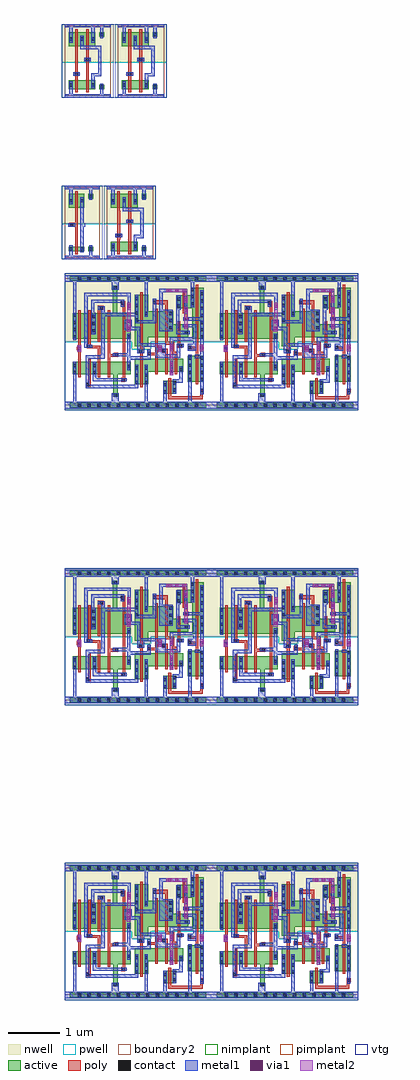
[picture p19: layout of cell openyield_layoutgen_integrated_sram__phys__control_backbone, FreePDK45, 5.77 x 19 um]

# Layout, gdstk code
import gdstk
lib = gdstk.Library(unit=1e-6, precision=1e-09)
def R(c, l, rs):  # rectangles x0, y0, x1, y1
    for r in rs: c.add(gdstk.rectangle(r[:2], r[2:], *l))
def A(c, l, x, y, w, h, nx, ny, dx, dy):  # array of equal rectangles
    R(c, l, [(x+i*dx, y+j*dy, x+i*dx+w, y+j*dy+h) for i in range(nx) for j in range(ny)])
def P(c, l, *ps):  # polygons
    for p in ps: c.add(gdstk.Polygon(p, *l))
active = (1, 0)
pwell = (2, 0)
nwell = (3, 0)
nimplant = (4, 0)
pimplant = (5, 0)
vtg = (6, 0)
poly = (9, 0)
contact = (10, 0)
metal1 = (11, 0)
via1 = (12, 0)
metal2 = (13, 0)
boundary2 = (239, 0)

dff = lib.new_cell('dff')
R(dff, active, [(0.1,-0.045,2.76,0.045), (1.917,0.222,2.022,0.473), (2.022,0.222,2.073,0.473), (2.073,0.222,2.178,0.473), (1.367,0.408,1.472,0.907), (1.472,0.408,1.522,0.907), (2.402,0.462,2.558,0.962), (2.558,0.462,2.607,0.962), (2.607,0.462,2.712,0.962), (0.163,0.6,0.268,0.85), (0.268,0.6,0.317,0.85), (0.317,0.6,0.457,0.85), (0.457,0.6,0.508,0.85), (0.508,0.6,0.647,0.85), (0.647,0.6,0.697,0.85), (0.697,0.6,0.837,0.85), (0.837,0.6,0.888,0.85), (1.133,0.6,1.183,0.85), (1.183,0.6,1.288,0.85), (1.767,0.657,1.818,0.907), (1.818,0.657,1.957,0.907), (1.957,0.657,2.007,0.907), (2.007,0.657,2.147,0.907), (2.147,0.657,2.198,0.907), (2.198,0.657,2.308,0.907), (1.367,1.15,1.472,2.15), (1.472,1.15,1.522,2.15), (0.163,1.292,0.268,1.792), (0.268,1.292,0.317,1.792), (0.317,1.292,0.457,1.792), (0.457,1.292,0.508,1.792), (0.508,1.292,0.647,1.792), (0.647,1.292,0.697,1.792), (0.697,1.292,0.837,1.792), (0.837,1.292,0.888,1.792), (1.133,1.292,1.183,1.792), (1.183,1.292,1.288,1.792), (2.558,1.292,2.607,2.292), (2.607,1.292,2.712,2.292), (1.767,1.328,1.818,1.828), (1.818,1.328,1.957,1.828), (1.957,1.328,2.007,1.828), (2.207,1.328,2.257,1.578), (2.257,1.328,2.408,1.578), (2.192,1.892,2.297,2.143), (2.297,1.892,2.348,2.143), (0.1,2.425,2.76,2.515)])
P(dff, active, [(0.888,1.292),(0.888,1.792),(0.937,1.792),(0.937,2.323),(1.028,2.323),(1.028,1.792),(1.133,1.792),(1.133,1.292)],
  [(1.522,1.15),(1.522,2.15),(1.627,2.15),(1.627,1.828),(1.767,1.828),(1.767,1.328),(1.627,1.328),(1.627,1.15)],
  [(2.007,1.328),(2.007,1.828),(2.112,1.828),(2.112,1.578),(2.207,1.578),(2.207,1.328)],
  [(2.488,1.292),(2.488,1.892),(2.348,1.892),(2.348,2.143),(2.453,2.143),(2.453,2.292),(2.558,2.292),(2.558,1.292)],
  [(0.947,0.165),(0.947,0.6),(0.888,0.6),(0.888,0.85),(1.133,0.85),(1.133,0.6),(1.038,0.6),(1.038,0.165)],
  [(1.522,0.408),(1.522,0.907),(1.767,0.907),(1.767,0.657),(1.627,0.657),(1.627,0.408)])
P(dff, pwell, [(0,-0.1),(0,1.235),(1.312,1.235),(1.312,1.095),(1.683,1.095),(1.683,1.235),(2.86,1.235),(2.86,-0.1)])
P(dff, nwell, [(1.312,1.095),(1.312,1.235),(0,1.235),(0,2.57),(2.86,2.57),(2.86,1.235),(1.683,1.235),(1.683,1.095)])
R(dff, nimplant, [(1.917,0.222,2.022,0.473), (2.022,0.222,2.073,0.473), (2.073,0.222,2.178,0.473), (1.367,0.408,1.472,0.907), (1.472,0.408,1.522,0.907), (2.402,0.462,2.558,0.962), (2.558,0.462,2.607,0.962), (2.607,0.462,2.712,0.962), (0.163,0.6,0.268,0.85), (0.268,0.6,0.317,0.85), (0.317,0.6,0.457,0.85), (0.457,0.6,0.508,0.85), (0.508,0.6,0.647,0.85), (0.647,0.6,0.697,0.85), (0.697,0.6,0.837,0.85), (0.837,0.6,0.888,0.85), (1.133,0.6,1.183,0.85), (1.183,0.6,1.288,0.85), (1.767,0.657,1.818,0.907), (1.818,0.657,1.957,0.907), (1.957,0.657,2.007,0.907), (2.007,0.657,2.147,0.907), (2.147,0.657,2.198,0.907), (2.198,0.657,2.308,0.907), (0.1,2.425,2.76,2.515)])
P(dff, nimplant, [(0.947,0.165),(0.947,0.6),(0.888,0.6),(0.888,0.85),(1.133,0.85),(1.133,0.6),(1.038,0.6),(1.038,0.165)],
  [(1.522,0.408),(1.522,0.907),(1.767,0.907),(1.767,0.657),(1.627,0.657),(1.627,0.408)])
R(dff, pimplant, [(0.1,-0.045,2.76,0.045), (1.367,1.15,1.472,2.15), (1.472,1.15,1.522,2.15), (0.163,1.292,0.268,1.792), (0.268,1.292,0.317,1.792), (0.317,1.292,0.457,1.792), (0.457,1.292,0.508,1.792), (0.508,1.292,0.647,1.792), (0.647,1.292,0.697,1.792), (0.697,1.292,0.837,1.792), (0.837,1.292,0.888,1.792), (1.133,1.292,1.183,1.792), (1.183,1.292,1.288,1.792), (2.558,1.292,2.607,2.292), (2.607,1.292,2.712,2.292), (1.767,1.328,1.818,1.828), (1.818,1.328,1.957,1.828), (1.957,1.328,2.007,1.828), (2.207,1.328,2.257,1.578), (2.257,1.328,2.408,1.578), (2.192,1.892,2.297,2.143), (2.297,1.892,2.348,2.143)])
P(dff, pimplant, [(0.888,1.292),(0.888,1.792),(0.937,1.792),(0.937,2.323),(1.028,2.323),(1.028,1.792),(1.133,1.792),(1.133,1.292)],
  [(1.522,1.15),(1.522,2.15),(1.627,2.15),(1.627,1.828),(1.767,1.828),(1.767,1.328),(1.627,1.328),(1.627,1.15)],
  [(2.007,1.328),(2.007,1.828),(2.112,1.828),(2.112,1.578),(2.207,1.578),(2.207,1.328)],
  [(2.488,1.292),(2.488,1.892),(2.348,1.892),(2.348,2.143),(2.453,2.143),(2.453,2.292),(2.558,2.292),(2.558,1.292)])
R(dff, vtg, [(0,-0.1,2.86,2.57)])
R(dff, poly, [(2.022,0.222,2.073,0.473), (1.472,0.352,1.522,0.408), (1.472,0.408,1.522,0.907), (2.558,0.408,2.607,0.462), (2.558,0.462,2.607,0.962), (2.022,0.473,2.073,0.527), (0.268,0.545,0.317,0.6), (0.647,0.545,0.697,0.6), (0.837,0.545,0.888,0.6), (0.268,0.6,0.317,0.85), (0.457,0.6,0.508,0.85), (0.647,0.6,0.697,0.85), (0.837,0.6,0.888,0.85), (1.133,0.6,1.183,0.85), (1.767,0.603,1.818,0.657), (1.957,0.603,2.007,0.657), (2.147,0.603,2.198,0.657), (1.767,0.657,1.818,0.907), (1.957,0.657,2.007,0.907), (2.147,0.657,2.198,0.907), (0.457,0.85,0.508,0.905), (1.133,0.85,1.183,1.292), (1.472,1.15,1.522,2.15), (0.647,1.238,0.697,1.292), (0.268,1.292,0.317,1.792), (0.457,1.292,0.508,1.792), (0.647,1.292,0.697,1.792), (0.837,1.292,0.888,1.792), (1.133,1.292,1.183,1.792), (2.558,1.292,2.607,2.292), (1.767,1.328,1.818,1.828), (1.957,1.328,2.007,1.828), (2.207,1.328,2.257,1.578), (2.207,1.578,2.257,1.632), (0.268,1.792,0.317,1.848), (0.457,1.792,0.508,1.848), (0.837,1.792,0.888,1.848), (1.767,1.828,1.818,1.882), (2.297,1.892,2.348,2.143), (2.297,2.143,2.348,2.198), (1.472,2.15,1.522,2.205), (2.558,2.292,2.607,2.348)])
P(dff, poly, [(0.268,0.85),(0.268,1.068),(0.242,1.068),(0.242,1.143),(0.268,1.143),(0.268,1.292),(0.317,1.292),(0.317,0.85)],
  [(0.413,0.365),(0.413,0.44),(0.457,0.44),(0.457,0.6),(0.508,0.6),(0.508,0.365)],
  [(0.647,1.792),(0.647,1.933),(0.753,1.933),(0.753,1.857),(0.697,1.857),(0.697,1.792)],
  [(0.647,0.85),(0.647,1.113),(0.432,1.113),(0.432,1.187),(0.457,1.187),(0.457,1.292),(0.508,1.292),(0.508,1.163),(0.697,1.163),(0.697,0.85)],
  [(0.837,0.85),(0.837,1.292),(0.888,1.292),(0.888,0.995),(0.972,0.995),(0.972,1.02),(1.048,1.02),(1.048,0.945),(0.888,0.945),(0.888,0.85)],
  [(1.133,1.792),(1.133,1.953),(1.093,1.953),(1.093,2.027),(1.183,2.027),(1.183,1.792)],
  [(1.107,0.46),(1.107,0.535),(1.133,0.535),(1.133,0.6),(1.183,0.6),(1.183,0.46)],
  [(1.472,0.907),(1.472,1.01),(1.443,1.01),(1.443,1.085),(1.472,1.085),(1.472,1.15),(1.522,1.15),(1.522,0.907)],
  [(1.767,0.907),(1.767,0.972),(1.607,0.972),(1.607,1.048),(1.683,1.048),(1.683,1.022),(1.767,1.022),(1.767,1.328),(1.818,1.328),(1.818,0.907)],
  [(1.957,1.828),(1.957,1.967),(1.713,1.967),(1.713,2.042),(2.007,2.042),(2.007,1.828)],
  [(1.957,0.907),(1.957,1.022),(1.902,1.022),(1.902,1.097),(2.007,1.097),(2.007,0.907)],
  [(2.343,1.642),(2.343,1.792),(2.297,1.792),(2.297,1.892),(2.348,1.892),(2.348,1.842),(2.393,1.842),(2.393,1.717),(2.417,1.717),(2.417,1.642)],
  [(2.207,1.123),(2.207,1.328),(2.257,1.328),(2.257,1.197),(2.292,1.197),(2.292,1.123)],
  [(2.022,0.122),(2.022,0.222),(2.073,0.222),(2.073,0.173),(2.638,0.173),(2.638,0.323),(2.712,0.323),(2.712,0.247),(2.687,0.247),(2.687,0.122)],
  [(2.147,0.907),(2.147,0.987),(2.083,0.987),(2.083,1.183),(1.957,1.183),(1.957,1.328),(2.007,1.328),(2.007,1.232),(2.132,1.232),(2.132,1.038),(2.198,1.038),(2.198,0.907)],
  [(2.558,0.962),(2.558,1.088),(2.397,1.088),(2.397,1.163),(2.473,1.163),(2.473,1.137),(2.558,1.137),(2.558,1.292),(2.607,1.292),(2.607,0.962)])
A(dff, contact, 0.827, -0.033, 0.066, 0.066, 3, 1, 0.57, 0)
A(dff, contact, 2.408, 0.468, 0.065, 0.064, 1, 4, 0, 0.14)
A(dff, contact, 2.642, 0.468, 0.065, 0.064, 1, 4, 0, 0.14)
A(dff, contact, 2.642, 1.717, 0.065, 0.065, 1, 3, 0, 0.14)
A(dff, contact, 0.827, 2.437, 0.066, 0.065, 3, 1, 0.57, 0)
R(dff, contact, [(0.258,-0.033,0.323,0.033), (0.447,-0.033,0.512,0.033), (0.638,-0.033,0.702,0.033), (1.018,-0.033,1.083,0.033), (1.207,-0.033,1.272,0.033), (1.588,-0.033,1.653,0.033), (1.777,-0.033,1.842,0.033), (2.158,-0.033,2.223,0.033), (2.348,-0.033,2.413,0.033), (2.538,-0.033,2.602,0.033), (0.952,0.17,1.018,0.235), (1.922,0.227,1.987,0.292), (2.642,0.252,2.707,0.317), (2.107,0.263,2.172,0.328), (1.922,0.367,1.987,0.432), (0.417,0.37,0.482,0.435), (2.107,0.403,2.172,0.468), (1.373,0.413,1.437,0.478), (1.558,0.413,1.622,0.478), (1.113,0.465,1.177,0.53), (1.373,0.552,1.437,0.618), (1.558,0.552,1.622,0.618), (0.168,0.605,0.232,0.67), (0.547,0.605,0.613,0.67), (2.047,0.662,2.112,0.728), (2.238,0.662,2.303,0.728), (1.373,0.692,1.437,0.758), (1.558,0.692,1.622,0.758), (1.218,0.72,1.282,0.785), (0.168,0.745,0.232,0.81), (0.547,0.745,0.613,0.81), (0.977,0.95,1.042,1.015), (1.612,0.977,1.677,1.042), (1.447,1.015,1.512,1.08), (1.907,1.028,1.973,1.093), (0.247,1.073,0.312,1.137), (2.402,1.093,2.468,1.157), (0.437,1.117,0.503,1.183), (2.223,1.127,2.288,1.193), (1.218,1.298,1.282,1.363), (2.642,1.298,2.707,1.363), (0.168,1.302,0.232,1.367), (2.337,1.387,2.402,1.453), (0.542,1.417,0.608,1.482), (2.642,1.437,2.707,1.502), (0.168,1.443,0.232,1.508), (2.042,1.477,2.107,1.542), (0.542,1.558,0.608,1.622), (2.642,1.578,2.707,1.642), (0.168,1.582,0.232,1.647), (2.042,1.617,2.107,1.683), (1.373,1.627,1.437,1.693), (2.348,1.647,2.413,1.713), (0.542,1.697,0.608,1.762), (0.168,1.723,0.232,1.787), (1.558,1.757,1.622,1.822), (2.042,1.757,2.107,1.822), (1.373,1.767,1.437,1.832), (0.682,1.862,0.748,1.927), (2.198,1.897,2.263,1.963), (1.373,1.907,1.437,1.973), (2.457,1.943,2.522,2.007), (1.097,1.957,1.163,2.022), (1.717,1.973,1.782,2.037), (2.198,2.037,2.263,2.103), (1.373,2.047,1.437,2.112), (2.457,2.083,2.522,2.147), (2.642,2.138,2.707,2.203), (2.457,2.223,2.522,2.288), (0.957,2.252,1.022,2.317), (0.258,2.437,0.323,2.502), (0.447,2.437,0.512,2.502), (0.638,2.437,0.702,2.502), (1.018,2.437,1.083,2.502), (1.207,2.437,1.272,2.502), (1.588,2.437,1.653,2.502), (1.777,2.437,1.842,2.502), (2.158,2.437,2.223,2.502), (2.348,2.437,2.413,2.502), (2.538,2.437,2.602,2.502)])
R(dff, metal1, [(0,-0.065,2.86,0.065), (2.047,0.588,2.112,0.863), (2.642,0.915,2.707,1.127), (1.777,0.927,1.973,1.207), (0.245,1.038,0.323,1.173), (2.632,1.048,2.71,1.183), (2.328,1.777,2.393,2.127), (0,2.405,2.76,2.535)])
P(dff, metal1, [(0.168,1.268),(0.168,2.405),(0.1,2.405),(0.1,2.535),(2.86,2.535),(2.86,2.405),(2.522,2.405),(2.522,1.907),(2.457,1.907),(2.457,2.405),(1.622,2.405),(1.622,1.723),(1.558,1.723),(1.558,2.405),(1.058,2.405),(1.058,2.252),(0.922,2.252),(0.922,2.405),(0.232,2.405),(0.232,1.268)],
  [(0.1,-0.065),(0.1,0.065),(0.168,0.065),(0.168,0.845),(0.232,0.845),(0.232,0.065),(0.917,0.065),(0.917,0.235),(1.052,0.235),(1.052,0.065),(1.558,0.065),(1.558,0.792),(1.622,0.792),(1.622,0.065),(1.922,0.065),(1.922,0.468),(1.987,0.468),(1.987,0.065),(2.408,0.065),(2.408,0.987),(2.473,0.987),(2.473,0.065),(2.76,0.065),(2.76,-0.065)],
  [(0.417,0.335),(0.417,0.975),(0.718,0.975),(0.718,1.862),(0.647,1.862),(0.647,1.927),(0.782,1.927),(0.782,1.798),(1.373,1.798),(1.373,2.147),(1.437,2.147),(1.437,1.657),(1.717,1.657),(1.717,2.073),(1.782,2.073),(1.782,1.592),(1.373,1.592),(1.373,1.732),(0.782,1.732),(0.782,0.91),(0.482,0.91),(0.482,0.4),(1.373,0.4),(1.373,0.792),(1.437,0.792),(1.437,0.335)],
  [(1.777,0.927),(1.777,1.143),(1.548,1.143),(1.548,1.015),(1.413,1.015),(1.413,1.463),(1.173,1.463),(1.173,1.667),(1.308,1.667),(1.308,1.528),(1.477,1.528),(1.477,1.207),(1.973,1.207),(1.973,0.992),(2.187,0.992),(2.187,1.193),(2.323,1.193),(2.323,1.127),(2.252,1.127),(2.252,0.927)],
  [(0.387,1.117),(0.387,2.187),(1.292,2.187),(1.292,1.862),(1.228,1.862),(1.228,2.123),(0.452,2.123),(0.452,1.183),(0.537,1.183),(0.537,1.117)],
  [(0.517,1.383),(0.517,2.058),(1.163,2.058),(1.163,1.922),(1.097,1.922),(1.097,1.992),(0.583,1.992),(0.583,1.798),(0.608,1.798),(0.608,1.383)],
  [(0.547,0.465),(0.547,0.845),(0.613,0.845),(0.613,0.53),(1.213,0.53),(1.213,0.465)],
  [(1.218,0.685),(1.218,0.95),(0.942,0.95),(0.942,1.015),(1.218,1.015),(1.218,1.397),(1.282,1.397),(1.282,0.95),(1.612,0.95),(1.612,1.078),(1.677,1.078),(1.677,0.885),(1.282,0.885),(1.282,0.685)],
  [(1.848,1.443),(1.848,2.268),(2.393,2.268),(2.393,2.203),(1.912,2.203),(1.912,1.857),(2.107,1.857),(2.107,1.443)],
  [(2.053,1.058),(2.053,1.322),(2.502,1.322),(2.502,1.518),(2.303,1.518),(2.303,1.582),(2.567,1.582),(2.567,1.058),(2.402,1.058),(2.402,1.193),(2.502,1.193),(2.502,1.258),(2.118,1.258),(2.118,1.058)],
  [(2.172,1.387),(2.172,2.138),(2.263,2.138),(2.263,1.862),(2.238,1.862),(2.238,1.453),(2.437,1.453),(2.437,1.387)],
  [(2.642,0.217),(2.642,0.917),(2.538,0.917),(2.538,0.982),(2.642,0.982),(2.642,1.647),(2.312,1.647),(2.312,1.713),(2.642,1.713),(2.642,2.238),(2.707,2.238),(2.707,0.217)],
  [(2.107,0.227),(2.107,0.503),(2.238,0.503),(2.238,0.763),(2.303,0.763),(2.303,0.437),(2.172,0.437),(2.172,0.227)])
R(dff, via1, [(2.047,0.623,2.112,0.687), (2.047,0.763,2.112,0.827), (0.247,1.073,0.312,1.137), (1.825,1.073,1.89,1.137), (2.64,1.083,2.705,1.147), (2.053,1.093,2.118,1.157), (1.207,1.463,1.272,1.528), (2.337,1.518,2.402,1.582), (1.207,1.602,1.272,1.667), (2.328,1.812,2.393,1.877), (1.228,1.897,1.292,1.963), (2.328,2.027,2.393,2.093), (2.013,2.203,2.078,2.268), (2.152,2.203,2.218,2.268), (2.292,2.203,2.357,2.268)])
R(dff, metal2, [(2.047,0.588,2.118,1.193), (0.245,1.038,0.323,1.173), (1.82,1.038,1.897,1.173), (2.632,1.048,2.71,1.183)])
P(dff, metal2, [(1.207,1.427),(1.207,1.703),(1.222,1.703),(1.222,1.997),(1.292,1.997),(1.292,1.427)],
  [(2.323,1.992),(2.323,2.198),(1.977,2.198),(1.977,2.268),(2.393,2.268),(2.393,1.992)],
  [(2.332,1.482),(2.332,1.777),(2.328,1.777),(2.328,1.912),(2.402,1.912),(2.402,1.482)])
R(dff, boundary2, [(0,0,2.86,2.47)])
dff.add(gdstk.Label('clk', (1.865,1.15), layer=13, texttype=0))
dff.add(gdstk.Label('D', (0.295,1.15), layer=13, texttype=0))
dff.add(gdstk.Label('Q', (2.685,1.1), layer=13, texttype=0))
dff.add(gdstk.Label('gnd', (1.645,0.043), layer=11, texttype=0))
dff.add(gdstk.Label('vdd', (2.035,2.533), layer=11, texttype=0))

sram_1rw_32x16_freepdk45 = lib.new_cell('sram_1rw_32x16_freepdk45_contact_11')
R(sram_1rw_32x16_freepdk45, active, [(0,0.022,0.09,0.112)])
R(sram_1rw_32x16_freepdk45, nwell, [(-0.055,-0.033,0.145,0.168)])
R(sram_1rw_32x16_freepdk45, pimplant, [(0,0.022,0.09,0.112)])
R(sram_1rw_32x16_freepdk45, contact, [(0.013,0.035,0.077,0.1)])
R(sram_1rw_32x16_freepdk45, metal1, [(0.013,0,0.077,0.135)])
R(sram_1rw_32x16_freepdk45, boundary2, [(-0.055,-0.033,0.145,0.168)])

c_sram_1rw_32x16_freepdk45 = lib.new_cell('sram_1rw_32x16_freepdk45_pmos_m1_w0_270_sm1_dm1_da_p')
R(c_sram_1rw_32x16_freepdk45, active, [(0,0,0.305,0.27)])
R(c_sram_1rw_32x16_freepdk45, nwell, [(-0.08,-0.08,0.385,0.35)])
R(c_sram_1rw_32x16_freepdk45, pimplant, [(0,0,0.305,0.27)])
R(c_sram_1rw_32x16_freepdk45, vtg, [(-0.08,-0.08,0.385,0.35)])
R(c_sram_1rw_32x16_freepdk45, poly, [(0.127,-0.055,0.177,0.325), (0.127,-0.055,0.177,0.325)])
R(c_sram_1rw_32x16_freepdk45, metal1, [(0.013,0.068,0.077,0.203), (0.227,0.068,0.292,0.203)])
R(c_sram_1rw_32x16_freepdk45, boundary2, [(-0.08,-0.08,0.385,0.35)])
c_sram_1rw_32x16_freepdk45.add(gdstk.Reference(sram_1rw_32x16_freepdk45, (0,0.068)))
c_sram_1rw_32x16_freepdk45.add(gdstk.Reference(sram_1rw_32x16_freepdk45, (0.215,0.068)))
c_sram_1rw_32x16_freepdk45.add(gdstk.Label('G', (0.152,0.135), layer=9, texttype=0))
c_sram_1rw_32x16_freepdk45.add(gdstk.Label('S', (0.045,0.135), layer=11, texttype=0))
c_sram_1rw_32x16_freepdk45.add(gdstk.Label('D', (0.26,0.135), layer=11, texttype=0))

c_sram_1rw_32x16_freepdk45_ = lib.new_cell('sram_1rw_32x16_freepdk45_contact_10')
R(c_sram_1rw_32x16_freepdk45_, active, [(0,0.022,0.09,0.112)])
R(c_sram_1rw_32x16_freepdk45_, pwell, [(-0.055,-0.033,0.145,0.168)])
R(c_sram_1rw_32x16_freepdk45_, nimplant, [(0,0.022,0.09,0.112)])
R(c_sram_1rw_32x16_freepdk45_, contact, [(0.013,0.035,0.077,0.1)])
R(c_sram_1rw_32x16_freepdk45_, metal1, [(0.013,0,0.077,0.135)])
R(c_sram_1rw_32x16_freepdk45_, boundary2, [(-0.055,-0.033,0.145,0.168)])

c_sram_1rw_32x16_freepdk45__ = lib.new_cell('sram_1rw_32x16_freepdk45_nmos_m1_w0_090_sm1_dm1_da_p')
R(c_sram_1rw_32x16_freepdk45__, active, [(0,0,0.305,0.09)])
R(c_sram_1rw_32x16_freepdk45__, pwell, [(-0.08,-0.08,0.385,0.17)])
R(c_sram_1rw_32x16_freepdk45__, nimplant, [(0,0,0.305,0.09)])
R(c_sram_1rw_32x16_freepdk45__, vtg, [(-0.08,-0.08,0.385,0.17)])
R(c_sram_1rw_32x16_freepdk45__, poly, [(0.127,-0.055,0.177,0.145), (0.127,-0.055,0.177,0.145)])
R(c_sram_1rw_32x16_freepdk45__, metal1, [(0.013,-0.022,0.077,0.112), (0.227,-0.022,0.292,0.112)])
R(c_sram_1rw_32x16_freepdk45__, boundary2, [(-0.08,-0.08,0.385,0.17)])
c_sram_1rw_32x16_freepdk45__.add(gdstk.Reference(c_sram_1rw_32x16_freepdk45_, (0,-0.022)))
c_sram_1rw_32x16_freepdk45__.add(gdstk.Reference(c_sram_1rw_32x16_freepdk45_, (0.215,-0.022)))
c_sram_1rw_32x16_freepdk45__.add(gdstk.Label('G', (0.152,0.045), layer=9, texttype=0))
c_sram_1rw_32x16_freepdk45__.add(gdstk.Label('S', (0.045,0.045), layer=11, texttype=0))
c_sram_1rw_32x16_freepdk45__.add(gdstk.Label('D', (0.26,0.045), layer=11, texttype=0))

c_sram_1rw_32x16_freepdk45___ = lib.new_cell('sram_1rw_32x16_freepdk45_contact_12')
R(c_sram_1rw_32x16_freepdk45___, active, [(0,0.022,0.09,0.112)])
R(c_sram_1rw_32x16_freepdk45___, nwell, [(-0.055,-0.033,0.145,0.168)])
R(c_sram_1rw_32x16_freepdk45___, nimplant, [(0,0.022,0.09,0.112)])
R(c_sram_1rw_32x16_freepdk45___, contact, [(0.013,0.035,0.077,0.1)])
R(c_sram_1rw_32x16_freepdk45___, metal1, [(0.013,0,0.077,0.135)])
R(c_sram_1rw_32x16_freepdk45___, boundary2, [(-0.055,-0.033,0.145,0.168)])

c_sram_1rw_32x16_freepdk45____ = lib.new_cell('sram_1rw_32x16_freepdk45_contact_13')
R(c_sram_1rw_32x16_freepdk45____, active, [(0,0.022,0.09,0.112)])
R(c_sram_1rw_32x16_freepdk45____, pwell, [(-0.055,-0.033,0.145,0.168)])
R(c_sram_1rw_32x16_freepdk45____, pimplant, [(0,0.022,0.09,0.112)])
R(c_sram_1rw_32x16_freepdk45____, contact, [(0.013,0.035,0.077,0.1)])
R(c_sram_1rw_32x16_freepdk45____, metal1, [(0.013,0,0.077,0.135)])
R(c_sram_1rw_32x16_freepdk45____, boundary2, [(-0.055,-0.033,0.145,0.168)])

c_sram_1rw_32x16_freepdk45_____ = lib.new_cell('sram_1rw_32x16_freepdk45_contact_14')
R(c_sram_1rw_32x16_freepdk45_____, poly, [(0.03,0,0.105,0.075)])
R(c_sram_1rw_32x16_freepdk45_____, contact, [(0.035,0.005,0.1,0.07)])
R(c_sram_1rw_32x16_freepdk45_____, metal1, [(0,0.005,0.135,0.07)])
R(c_sram_1rw_32x16_freepdk45_____, boundary2, [(0,0,0.135,0.075)])

gen_inv = lib.new_cell('gen_inv')
R(gen_inv, pwell, [(-0.055,-0.033,0.743,0.655)])
R(gen_inv, nwell, [(-0.055,0.655,0.743,1.4)])
R(gen_inv, vtg, [(-0.055,-0.033,0.743,0.655), (-0.055,0.655,0.743,1.4)])
R(gen_inv, poly, [(0.208,0.27,0.258,0.915), (0.14,0.6,0.208,0.675)])
R(gen_inv, metal1, [(0,-0.033,0.687,0.033), (0.092,-0.033,0.157,0.103), (0.478,0,0.542,0.17), (0.307,0.103,0.372,1.173), (0.072,0.605,0.208,0.67), (0.34,0.605,0.405,0.67), (0.092,1.038,0.157,1.397), (0.478,1.195,0.542,1.365), (0,1.332,0.687,1.397)])
R(gen_inv, boundary2, [(0,0,0.687,1.365), (0,0,0.687,1.365)])
gen_inv.add(gdstk.Reference(c_sram_1rw_32x16_freepdk45, (0.08,0.97)))
gen_inv.add(gdstk.Reference(c_sram_1rw_32x16_freepdk45__, (0.08,0.125)))
gen_inv.add(gdstk.Reference(c_sram_1rw_32x16_freepdk45___, (0.465,1.127)))
gen_inv.add(gdstk.Reference(c_sram_1rw_32x16_freepdk45____, (0.465,0.103)))
gen_inv.add(gdstk.Reference(c_sram_1rw_32x16_freepdk45_____, (0.072,0.6)))
gen_inv.add(gdstk.Label('A', (0.14,0.638), layer=11, texttype=0))
gen_inv.add(gdstk.Label('Z', (0.372,0.638), layer=11, texttype=0))
gen_inv.add(gdstk.Label('gnd', (0.345,0), layer=11, texttype=0))
gen_inv.add(gdstk.Label('vdd', (0.345,1.365), layer=11, texttype=0))

c_sram_1rw_32x16_freepdk45______ = lib.new_cell('sram_1rw_32x16_freepdk45_pmos_m1_w0_270_sm1_dm1')
R(c_sram_1rw_32x16_freepdk45______, active, [(0,0,0.305,0.27)])
R(c_sram_1rw_32x16_freepdk45______, nwell, [(-0.08,-0.08,0.385,0.35)])
R(c_sram_1rw_32x16_freepdk45______, pimplant, [(0,0,0.305,0.27)])
R(c_sram_1rw_32x16_freepdk45______, vtg, [(-0.08,-0.08,0.385,0.35)])
R(c_sram_1rw_32x16_freepdk45______, poly, [(0.127,-0.055,0.177,0.325), (0.127,-0.055,0.177,0.325)])
R(c_sram_1rw_32x16_freepdk45______, metal1, [(0.013,0.068,0.077,0.203), (0.227,0.068,0.292,0.203)])
R(c_sram_1rw_32x16_freepdk45______, boundary2, [(-0.08,-0.08,0.385,0.35)])
c_sram_1rw_32x16_freepdk45______.add(gdstk.Reference(sram_1rw_32x16_freepdk45, (0,0.068)))
c_sram_1rw_32x16_freepdk45______.add(gdstk.Reference(sram_1rw_32x16_freepdk45, (0.215,0.068)))
c_sram_1rw_32x16_freepdk45______.add(gdstk.Label('G', (0.152,0.135), layer=9, texttype=0))
c_sram_1rw_32x16_freepdk45______.add(gdstk.Label('S', (0.045,0.135), layer=11, texttype=0))
c_sram_1rw_32x16_freepdk45______.add(gdstk.Label('D', (0.26,0.135), layer=11, texttype=0))

c_sram_1rw_32x16_freepdk45_______ = lib.new_cell('sram_1rw_32x16_freepdk45_nmos_m1_w0_180_sm1_dactive')
R(c_sram_1rw_32x16_freepdk45_______, active, [(0,0,0.305,0.18), (0.215,0.045,0.305,0.135)])
R(c_sram_1rw_32x16_freepdk45_______, pwell, [(-0.08,-0.08,0.385,0.26)])
R(c_sram_1rw_32x16_freepdk45_______, nimplant, [(0,0,0.305,0.18)])
R(c_sram_1rw_32x16_freepdk45_______, vtg, [(-0.08,-0.08,0.385,0.26)])
R(c_sram_1rw_32x16_freepdk45_______, poly, [(0.127,-0.055,0.177,0.235), (0.127,-0.055,0.177,0.235)])
R(c_sram_1rw_32x16_freepdk45_______, metal1, [(0.013,0.022,0.077,0.157)])
R(c_sram_1rw_32x16_freepdk45_______, boundary2, [(-0.08,-0.08,0.385,0.26)])
c_sram_1rw_32x16_freepdk45_______.add(gdstk.Reference(c_sram_1rw_32x16_freepdk45_, (0,0.022)))
c_sram_1rw_32x16_freepdk45_______.add(gdstk.Label('G', (0.152,0.09), layer=9, texttype=0))
c_sram_1rw_32x16_freepdk45_______.add(gdstk.Label('S', (0.045,0.09), layer=11, texttype=0))
c_sram_1rw_32x16_freepdk45_______.add(gdstk.Label('D', (0.26,0.09), layer=1, texttype=0))

c_sram_1rw_32x16_freepdk45________ = lib.new_cell('sram_1rw_32x16_freepdk45_nmos_m1_w0_180_sactive_dm1')
R(c_sram_1rw_32x16_freepdk45________, active, [(0,0,0.305,0.18), (0,0.045,0.09,0.135)])
R(c_sram_1rw_32x16_freepdk45________, pwell, [(-0.08,-0.08,0.385,0.26)])
R(c_sram_1rw_32x16_freepdk45________, nimplant, [(0,0,0.305,0.18)])
R(c_sram_1rw_32x16_freepdk45________, vtg, [(-0.08,-0.08,0.385,0.26)])
R(c_sram_1rw_32x16_freepdk45________, poly, [(0.127,-0.055,0.177,0.235), (0.127,-0.055,0.177,0.235)])
R(c_sram_1rw_32x16_freepdk45________, metal1, [(0.227,0.022,0.292,0.157)])
R(c_sram_1rw_32x16_freepdk45________, boundary2, [(-0.08,-0.08,0.385,0.26)])
c_sram_1rw_32x16_freepdk45________.add(gdstk.Reference(c_sram_1rw_32x16_freepdk45_, (0.215,0.022)))
c_sram_1rw_32x16_freepdk45________.add(gdstk.Label('G', (0.152,0.09), layer=9, texttype=0))
c_sram_1rw_32x16_freepdk45________.add(gdstk.Label('S', (0.045,0.09), layer=1, texttype=0))
c_sram_1rw_32x16_freepdk45________.add(gdstk.Label('D', (0.26,0.09), layer=11, texttype=0))

gen_nand2 = lib.new_cell('gen_nand2')
R(gen_nand2, pwell, [(-0.055,-0.033,0.957,0.655)])
R(gen_nand2, nwell, [(-0.055,0.655,0.957,1.4)])
R(gen_nand2, vtg, [(-0.055,-0.033,0.957,0.655), (-0.055,0.655,0.957,1.4)])
R(gen_nand2, poly, [(0.208,0.36,0.258,0.915), (0.422,0.36,0.473,0.915), (0.208,0.39,0.232,0.465), (0.422,0.67,0.447,0.745)])
R(gen_nand2, metal1, [(0,-0.033,0.902,0.033), (0.092,-0.033,0.157,0.147), (0.692,0,0.758,0.17), (0.522,0.283,0.588,0.413), (0.522,0.38,0.588,0.445), (0.555,0.38,0.685,0.445), (0.652,0.38,0.718,0.445), (0.165,0.395,0.3,0.46), (0.652,0.413,0.718,0.94), (0.38,0.675,0.515,0.74), (0.307,0.907,0.372,0.972), (0.34,0.907,0.685,0.972), (0.652,0.907,0.718,0.972), (0.307,0.94,0.372,1.038), (0.092,1.038,0.157,1.397), (0.522,1.038,0.588,1.397), (0.692,1.195,0.758,1.365), (0,1.332,0.902,1.397)])
R(gen_nand2, boundary2, [(0,0,0.902,1.365), (0,0,0.902,1.365)])
gen_nand2.add(gdstk.Reference(c_sram_1rw_32x16_freepdk45______, (0.08,0.97)))
gen_nand2.add(gdstk.Reference(c_sram_1rw_32x16_freepdk45______, (0.295,0.97)))
gen_nand2.add(gdstk.Reference(c_sram_1rw_32x16_freepdk45_______, (0.08,0.125)))
gen_nand2.add(gdstk.Reference(c_sram_1rw_32x16_freepdk45________, (0.295,0.125)))
gen_nand2.add(gdstk.Reference(c_sram_1rw_32x16_freepdk45___, (0.68,1.127)))
gen_nand2.add(gdstk.Reference(c_sram_1rw_32x16_freepdk45____, (0.68,0.103)))
gen_nand2.add(gdstk.Reference(c_sram_1rw_32x16_freepdk45_____, (0.165,0.39)))
gen_nand2.add(gdstk.Reference(c_sram_1rw_32x16_freepdk45_____, (0.38,0.67)))
gen_nand2.add(gdstk.Label('Z', (0.685,0.94), layer=11, texttype=0))
gen_nand2.add(gdstk.Label('gnd', (0.45,0), layer=11, texttype=0))
gen_nand2.add(gdstk.Label('vdd', (0.45,1.365), layer=11, texttype=0))
gen_nand2.add(gdstk.Label('A', (0.232,0.427), layer=11, texttype=0))
gen_nand2.add(gdstk.Label('B', (0.447,0.707), layer=11, texttype=0))

openyield_layoutgen_inte = lib.new_cell('openyield_layoutgen_integrated_sram__phys__control_backbone')
openyield_layoutgen_inte.add(gdstk.Reference(dff, (0.343,0.343)))
openyield_layoutgen_inte.add(gdstk.Reference(dff, (3.202,0.343)))
openyield_layoutgen_inte.add(gdstk.Reference(dff, (0.343,6.083)))
openyield_layoutgen_inte.add(gdstk.Reference(dff, (3.202,6.083)))
openyield_layoutgen_inte.add(gdstk.Reference(dff, (0.343,11.822)))
openyield_layoutgen_inte.add(gdstk.Reference(dff, (3.202,11.822)))
openyield_layoutgen_inte.add(gdstk.Reference(gen_inv, (0.343,14.697)))
openyield_layoutgen_inte.add(gdstk.Reference(gen_nand2, (1.165,14.697)))
openyield_layoutgen_inte.add(gdstk.Reference(gen_nand2, (0.343,17.845)))
openyield_layoutgen_inte.add(gdstk.Reference(gen_nand2, (1.38,17.845)))

lib.write_gds('openyield_layoutgen_integrated_sram__phys__control_backbone.gds')
